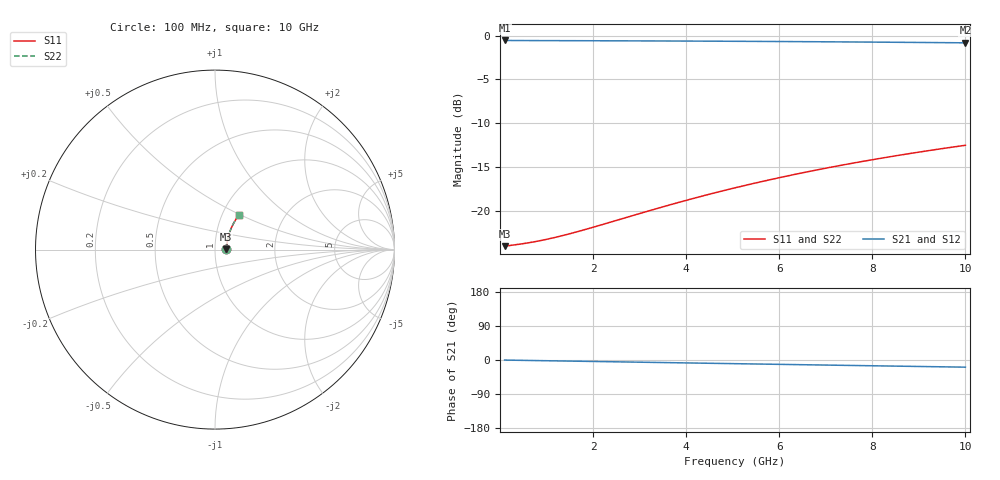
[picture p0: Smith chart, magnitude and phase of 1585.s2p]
# Hz S RI R 50.00
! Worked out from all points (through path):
!   100 points, 100 MHz to 10 GHz, reference 50 ohm
!   highest |S21| = -0.56 dB at 100 MHz (marker M1); lowest = -0.8 dB at 10 GHz (marker M2)
!   group delay of S21, straight-line fit = 5.26 ps
!   lowest |S11| = -24.0 dB at 100 MHz (marker M3), VSWR 1.13, Z = 56.7 + j0.245 ohm
!   |S11| at or under -10 dB: start of sweep to end of sweep
!   |S22| runs from -24.0 to -12.5 dB; largest |S21 - S12| = 0
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1e8  0.0627 0.00216  0.9373 -0.00316  0.9373 -0.00316  0.0627 0.00216
5e8  0.064 0.0107  0.936 -0.0158  0.936 -0.0158  0.064 0.0107
7e8  0.0645 0.015  0.9355 -0.0221  0.9355 -0.0221  0.0645 0.015
9e8  0.065 0.0193  0.935 -0.0283  0.935 -0.0283  0.065 0.0193
1.1e9  0.0655 0.0236  0.9344 -0.0346  0.9344 -0.0346  0.0655 0.0236
1.3e9  0.066 0.0278  0.9339 -0.0409  0.9339 -0.0409  0.066 0.0278
1.5e9  0.0666 0.0321  0.9333 -0.0471  0.9333 -0.0471  0.0666 0.0321
1.8e9  0.0676 0.0384  0.9323 -0.0565  0.9323 -0.0565  0.0676 0.0384
3.4e9  0.0744 0.0719  0.925 -0.106  0.925 -0.106  0.0744 0.0719
3.9e9  0.0772 0.0821  0.922 -0.1213  0.922 -0.1213  0.0772 0.0821
4.3e9  0.0796 0.0902  0.9194 -0.1334  0.9194 -0.1334  0.0796 0.0902
4.7e9  0.0823 0.0983  0.9165 -0.1454  0.9165 -0.1454  0.0823 0.0983
5.1e9  0.0852 0.1062  0.9134 -0.1574  0.9134 -0.1574  0.0852 0.1062
5.5e9  0.0882 0.114  0.9101 -0.1692  0.9101 -0.1692  0.0882 0.114
5.9e9  0.0915 0.1218  0.9066 -0.181  0.9066 -0.181  0.0915 0.1218
6.3e9  0.095 0.1294  0.9029 -0.1926  0.9029 -0.1926  0.095 0.1294
6.7e9  0.0986 0.1369  0.899 -0.2042  0.899 -0.2042  0.0986 0.1369
7.5e9  0.1064 0.1516  0.8906 -0.2269  0.8906 -0.2269  0.1064 0.1516
7.9e9  0.1106 0.1587  0.8861 -0.2381  0.8861 -0.2381  0.1106 0.1587
8.4e9  0.1161 0.1674  0.8802 -0.2519  0.8802 -0.2519  0.1161 0.1674
9.2e9  0.1253 0.181  0.8702 -0.2735  0.8702 -0.2735  0.1253 0.181
1e10  0.1352 0.1939  0.8595 -0.2945  0.8595 -0.2945  0.1352 0.1939
